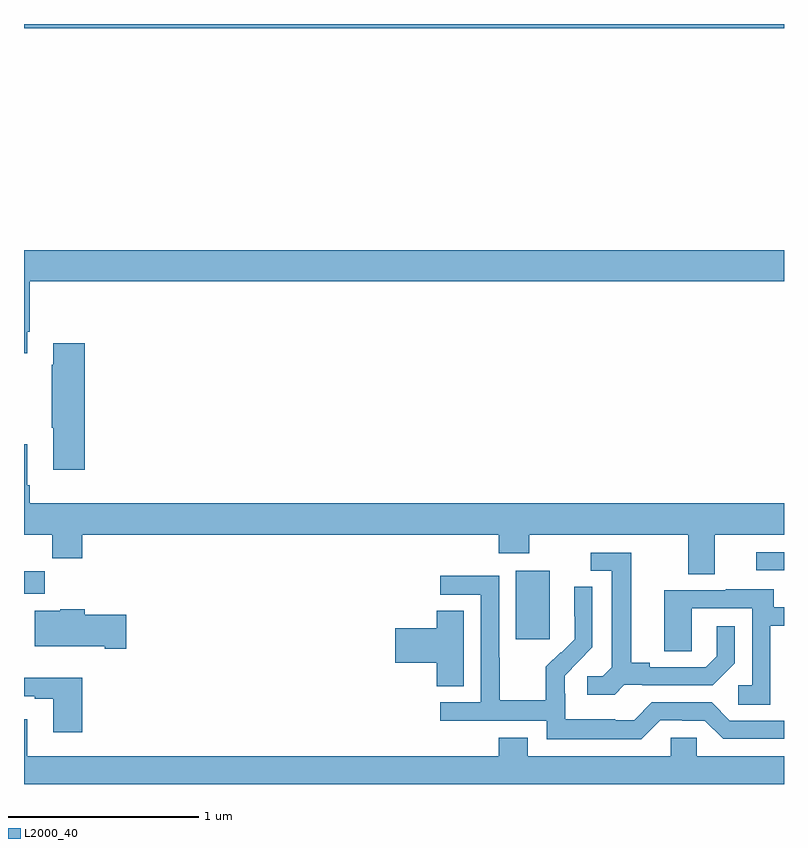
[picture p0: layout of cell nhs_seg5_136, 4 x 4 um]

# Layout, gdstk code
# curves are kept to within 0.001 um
import gdstk
lib = gdstk.Library(unit=1e-6, precision=1e-09)
def R(c, l, rs):  # rectangles x0, y0, x1, y1
    for r in rs: c.add(gdstk.rectangle(r[:2], r[2:], *l))
def P(c, l, *ps):  # polygons
    for p in ps: c.add(gdstk.Polygon(p, *l))
L2000_40 = (2000, 40)

nhs_seg5_136 = lib.new_cell('nhs_seg5_136')
R(nhs_seg5_136, L2000_40, [(121.589,837.561,121.768,837.922), (119,837.8,119.108,837.919), (122.853,837.924,123,838.02), (119,840.776,123,840.799)])
P(nhs_seg5_136, L2000_40, [(119.017,839.179),(119.03,839.179),(119.03,839.444),(123,839.444),(123,839.608),(119,839.608),(119,839.067),(119.017,839.067)],
  [(119.321,839.119),(119.153,839.119),(119.153,839.006),(119.146,839.006),(119.146,838.675),(119.153,838.675),(119.153,838.452),(119.321,838.452)],
  [(122.635,838.112),(123,838.112),(123,838.276),(119.03,838.276),(119.03,838.372),(119.017,838.372),(119.017,838.588),(119,838.588),(119,838.112),(119.149,838.112),(119.149,837.988),(119.306,837.988),(119.306,838.112),(121.499,838.112),(121.499,838.013),(121.659,838.013),(121.659,838.112),(122.495,838.112),(122.495,837.904),(122.635,837.904)],
  [(122.16,837.321),(122.254,837.321),(122.254,837.318),(122.626,837.318),(122.742,837.434),(122.742,837.628),(122.645,837.628),(122.645,837.471),(122.588,837.414),(122.293,837.414),(122.293,837.437),(122.197,837.437),(122.197,838.017),(121.983,838.017),(121.983,837.921),(122.093,837.921),(122.093,837.413),(122.046,837.366),(121.965,837.366),(121.965,837.269),(122.108,837.269)],
  [(122.349,837.135),(122.465,837.135),(122.465,837.132),(122.583,837.132),(122.679,837.036),(123,837.036),(123,837.132),(122.715,837.132),(122.619,837.228),(122.304,837.228),(122.211,837.135),(122.111,837.135),(122.111,837.139),(121.848,837.139),(121.848,837.273),(121.846,837.273),(121.846,837.37),(121.992,837.518),(121.992,837.836),(121.896,837.836),(121.896,837.682),(121.898,837.682),(121.898,837.56),(121.827,837.489),(121.824,837.492),(121.747,837.415),(121.747,837.241),(121.503,837.241),(121.503,837.464),(121.5,837.464),(121.5,837.894),(121.191,837.894),(121.191,837.795),(121.404,837.795),(121.404,837.228),(121.191,837.228),(121.191,837.132),(121.752,837.132),(121.752,837.035),(122.249,837.035)],
  [(122.928,837.633),(123,837.633),(123,837.729),(122.947,837.729),(122.947,837.823),(122.693,837.823),(122.693,837.819),(122.369,837.819),(122.369,837.499),(122.514,837.499),(122.514,837.723),(122.832,837.723),(122.832,837.318),(122.76,837.318),(122.76,837.217),(122.928,837.217)],
  [(119.539,837.69),(119.321,837.69),(119.321,837.718),(119.19,837.718),(119.19,837.712),(119.057,837.712),(119.057,837.524),(119.426,837.524),(119.426,837.512),(119.539,837.512)],
  [(121.315,837.71),(121.172,837.71),(121.172,837.62),(120.954,837.62),(120.954,837.437),(121.172,837.437),(121.172,837.313),(121.315,837.313)],
  [(119.306,837.358),(119,837.358),(119,837.261),(119.057,837.261),(119.057,837.249),(119.153,837.249),(119.153,837.072),(119.306,837.072)],
  [(123,836.944),(122.541,836.944),(122.541,837.042),(122.403,837.042),(122.403,836.944),(121.651,836.944),(121.651,837.043),(121.499,837.043),(121.499,836.944),(119.017,836.944),(119.017,837.139),(119,837.139),(119,836.799),(123,836.799)])

lib.write_gds('nhs_seg5_136.gds')
